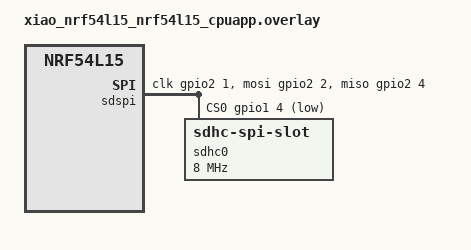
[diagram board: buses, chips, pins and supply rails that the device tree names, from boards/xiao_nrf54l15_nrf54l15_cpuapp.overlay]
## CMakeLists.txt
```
# SPDX-License-Identifier: Apache-2.0
cmake_minimum_required(VERSION 3.20.0)

find_package(Zephyr REQUIRED HINTS $ENV{ZEPHYR_BASE})
project(xiao_nrf54l15_sdcard_test)

target_sources(app PRIVATE src/main.c)
```

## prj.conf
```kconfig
# SPDX-License-Identifier: Apache-2.0
# XIAO nRF54L15 - SD card (SPI) full self-test

# Console / logging
CONFIG_LOG=y
CONFIG_PRINTK=y
CONFIG_STDOUT_CONSOLE=y
# Synchronous logging so no informational lines get dropped during the fast
# boot burst (bit-bang SD init queues several driver log messages).
CONFIG_LOG_MODE_IMMEDIATE=y

# Buses / drivers
CONFIG_GPIO=y
CONFIG_SPI=y
# Software (bit-bang) SPI: needed to clock the SD card at <=400 kHz for init
# (hardware SPIM00 on these pins cannot go below 2 MHz).
CONFIG_SPI_BITBANG=y

# SD card stack: SDHC (SPI) -> SDMMC disk -> disk access
CONFIG_SDHC=y
CONFIG_DISK_ACCESS=y
CONFIG_DISK_DRIVER_SDMMC=y

# FAT filesystem (ELM FatFs) with long-file-name support
CONFIG_FILE_SYSTEM=y
CONFIG_FAT_FILESYSTEM_ELM=y
CONFIG_FS_FATFS_LFN=y
CONFIG_FS_FATFS_LFN_MODE_STACK=y

# Stacks / heap sized generously for FatFs + SDHC (they are stack hungry)
CONFIG_MAIN_STACK_SIZE=32000
CONFIG_SYSTEM_WORKQUEUE_STACK_SIZE=16384
CONFIG_HEAP_MEM_POOL_SIZE=16384
CONFIG_IDLE_STACK_SIZE=8192

# Keep the SoC at constant latency for reliable SPI timing during init
CONFIG_SOC_NRF_FORCE_CONSTLAT=y
```

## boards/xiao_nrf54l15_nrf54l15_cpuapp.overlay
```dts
/*
 * SD card over SPI for Seeed XIAO nRF54L15 (Sense).
 *
 * User wiring:
 *   SCK  = P2.01  (XIAO D8)
 *   MOSI = P2.02  (XIAO D10)
 *   MISO = P2.04  (XIAO D9)
 *   CS   = P1.04  (XIAO D0)
 *
 * Why software (bit-bang) SPI instead of hardware SPIM:
 *   - SPIM00 (the board's default xiao_spi on exactly these P2 pins) has a
 *     hardware minimum clock of 2 MHz and therefore cannot produce the
 *     <=400 kHz clock an SD card needs during its init handshake.
 *   - SPIM20 shares the "serial 20" instance with UART20, which is the
 *     board's console -> on-board USB-serial (COM port). Using SPIM20 would
 *     kill the console.
 *   Bit-bang toggles plain GPIOs, so it works at 400 kHz for init, needs no
 *   serial peripheral instance, and leaves UART20/console intact.
 */

/ {
	sdspi: sdspi {
		compatible = "zephyr,spi-bitbang";
		status = "okay";
		#address-cells = <1>;
		#size-cells = <0>;

		clk-gpios  = <&gpio2 1 GPIO_ACTIVE_HIGH>;   /* P2.01 SCK  */
		mosi-gpios = <&gpio2 2 GPIO_ACTIVE_HIGH>;   /* P2.02 MOSI */
		miso-gpios = <&gpio2 4 GPIO_ACTIVE_HIGH>;   /* P2.04 MISO */
		cs-gpios   = <&gpio1 4 GPIO_ACTIVE_LOW>;    /* P1.04 CS   */

		sdhc0: sdhc@0 {
			compatible = "zephyr,sdhc-spi-slot";
			reg = <0>;
			status = "okay";
			spi-max-frequency = <8000000>;

			mmc {
				compatible = "zephyr,sdmmc-disk";
				disk-name = "SD";
				status = "okay";
			};
		};
	};

	aliases {
		sdhc0 = &sdhc0;
	};
};

/* Free the P2.01/P2.02/P2.04 pins from the default hardware SPI (SPIM00)
 * so the bit-bang driver can drive them as GPIOs.
 */
&xiao_spi {
	status = "disabled";
};
```

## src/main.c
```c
/*
 * SD card test for Seeed XIAO nRF54L15 (Sense) over software (bit-bang) SPI.
 *
 * Wiring:
 *   SCK  = P2.01 (D8)
 *   MOSI = P2.02 (D10)
 *   MISO = P2.04 (D9)
 *   CS   = P1.04 (D0)
 *
 * Behaviour on each boot:
 *   1. Wait until the SD card answers (so wiring / re-seating / power-cycling
 *      the card can be fixed live without re-flashing).
 *   2. Create a new persistent file test{N}.txt containing "Hello" (N grows
 *      every boot: test1.txt, test2.txt, ...).
 *   3. Run a full read/write/verify self-test.
 *   4. Heartbeat the status once per few seconds.
 *
 * SPDX-License-Identifier: Apache-2.0
 */

#include <zephyr/kernel.h>
#include <zephyr/device.h>
#include <zephyr/storage/disk_access.h>
#include <zephyr/logging/log.h>
#include <zephyr/fs/fs.h>
#include <ff.h>
#include <string.h>
#include <stdio.h>

LOG_MODULE_REGISTER(sdtest, LOG_LEVEL_INF);

#define DISK_DRIVE_NAME "SD"
#define DISK_MOUNT_PT   "/" DISK_DRIVE_NAME ":"

static FATFS fat_fs;
static struct fs_mount_t mp = {
	.type = FS_FATFS,
	.fs_data = &fat_fs,
	.mnt_point = DISK_MOUNT_PT,
};

static int g_pass;
static int g_fail;
static char g_boot_file[48];   /* path of the test{N}.txt created this boot */

#define CHECK(cond, ...)                                                       \
	do {                                                                   \
		if (cond) {                                                    \
			g_pass++;                                              \
			printk("  [ OK ] " __VA_ARGS__);                       \
			printk("\n");                                          \
		} else {                                                       \
			g_fail++;                                              \
			printk("  [FAIL] " __VA_ARGS__);                       \
			printk("\n");                                          \
		}                                                              \
	} while (0)

#define BLOCK        4096
#define LARGE_BYTES  (128 * 1024)
static uint8_t wbuf[BLOCK];
static uint8_t rbuf[BLOCK];

#define SMALL_PATH   DISK_MOUNT_PT "/sdtest.txt"
#define LARGE_PATH   DISK_MOUNT_PT "/sdbig.bin"

static const char small_payload[] =
	"XIAO nRF54L15 SD card self-test\r\n"
	"SCK=P2.01 MOSI=P2.02 MISO=P2.04 CS=P1.04\r\n"
	"The quick brown fox jumps over the lazy dog 0123456789\r\n";

static void fill_pattern(uint8_t *buf, size_t len, uint32_t seed)
{
	for (size_t i = 0; i < len; i++) {
		buf[i] = (uint8_t)((seed + i * 31u + (i >> 3)) & 0xFF);
	}
}

static int lsdir(const char *path)
{
	int res;
	struct fs_dir_t dirp;
	static struct fs_dirent entry;
	int count = 0;

	fs_dir_t_init(&dirp);
	res = fs_opendir(&dirp, path);
	if (res) {
		printk("       Error opening dir %s [%d]\n", path, res);
		return res;
	}

	printk("       Listing %s :\n", path);
	for (;;) {
		res = fs_readdir(&dirp, &entry);
		if (res || entry.name[0] == 0) {
			break;
		}
		if (entry.type == FS_DIR_ENTRY_DIR) {
			printk("         [DIR ] %s\n", entry.name);
		} else {
			printk("         [FILE] %s (%zu bytes)\n",
			       entry.name, entry.size);
		}
		count++;
	}
	fs_closedir(&dirp);
	return res == 0 ? count : res;
}

/* Try to bring the card up. Returns true (card left initialised) or false. */
static bool card_responds(void)
{
	static const char *pdrv = DISK_DRIVE_NAME;

	if (disk_access_ioctl(pdrv, DISK_IOCTL_CTRL_INIT, NULL) == 0) {
		return true;
	}
	(void)disk_access_ioctl(pdrv, DISK_IOCTL_CTRL_DEINIT, NULL);
	return false;
}

/* ---- raw disk info (card already initialised) ------------------------ */
static bool test_raw_disk(uint32_t *out_block_count, uint32_t *out_block_size)
{
	static const char *pdrv = DISK_DRIVE_NAME;
	uint32_t block_count = 0;
	uint32_t block_size = 0;
	bool ok = true;

	printk("\n--- 1. Raw disk access (card identify) ---\n");
	CHECK(true, "SD card init (400 kHz handshake over SPI)");

	if (disk_access_ioctl(pdrv, DISK_IOCTL_GET_SECTOR_COUNT,
			      &block_count) != 0) {
		CHECK(false, "read sector count");
		ok = false;
	} else {
		CHECK(block_count > 0, "sector count = %u", block_count);
	}

	if (disk_access_ioctl(pdrv, DISK_IOCTL_GET_SECTOR_SIZE,
			      &block_size) != 0) {
		CHECK(false, "read sector size");
		ok = false;
	} else {
		CHECK(block_size == 512, "sector size = %u bytes", block_size);
	}

	if (ok) {
		uint64_t bytes = (uint64_t)block_count * block_size;
		printk("       => Card capacity: %u MB (%u MiB)\n",
		       (uint32_t)(bytes / 1000000ULL),
		       (uint32_t)(bytes >> 20));
	}

	*out_block_count = block_count;
	*out_block_size = block_size;
	return ok;
}

static bool test_mount(void)
{
	printk("\n--- 2. Mount FAT filesystem ---\n");

	int res = fs_mount(&mp);

	CHECK(res == FR_OK, "fs_mount(%s) -> %d", DISK_MOUNT_PT, res);
	if (res != FR_OK) {
		return false;
	}

	struct fs_statvfs sbuf;

	res = fs_statvfs(DISK_MOUNT_PT, &sbuf);
	if (res == 0) {
		uint64_t total = (uint64_t)sbuf.f_blocks * sbuf.f_frsize;
		uint64_t freeb = (uint64_t)sbuf.f_bfree * sbuf.f_frsize;

		printk("       Volume total : %u MB\n",
		       (uint32_t)(total / 1000000ULL));
		printk("       Volume free  : %u MB\n",
		       (uint32_t)(freeb / 1000000ULL));
		CHECK(total > 0, "statvfs reports non-zero volume size");
	} else {
		CHECK(false, "fs_statvfs -> %d", res);
	}

	lsdir(DISK_MOUNT_PT);
	return true;
}

/* ---- persistent per-boot file: create test{N}.txt = "Hello" ---------- */
static void create_boot_file(void)
{
	char path[64];
	struct fs_dirent ent;
	struct fs_file_t f;
	int n = 1;

	printk("\n--- Boot file: create test{N}.txt containing \"Hello\" ---\n");

	for (;;) {
		snprintf(path, sizeof(path), DISK_MOUNT_PT "/test%d.txt", n);
		if (fs_stat(path, &ent) != 0) {
			break;
		}
		if (++n > 100000) {
			break;
		}
	}

	fs_file_t_init(&f);
	int rc = fs_open(&f, path, FS_O_CREATE | FS_O_WRITE);
	if (rc != 0) {
		CHECK(false, "create %s", path);
		return;
	}
	ssize_t w = fs_write(&f, "Hello", 5);
	fs_sync(&f);
	fs_close(&f);
	CHECK(w == 5, "wrote \"Hello\" to %s (%d bytes)", path, (int)w);
	if (w == 5) {
		strncpy(g_boot_file, path, sizeof(g_boot_file) - 1);
	}

	lsdir(DISK_MOUNT_PT);
}

static bool test_small_file(void)
{
	struct fs_file_t f;
	int res;
	bool ok = true;

	printk("\n--- 3. Small file write / read-back / verify ---\n");

	fs_file_t_init(&f);
	res = fs_open(&f, SMALL_PATH, FS_O_CREATE | FS_O_WRITE | FS_O_TRUNC);
	CHECK(res == 0, "open %s for write", SMALL_PATH);
	if (res != 0) {
		return false;
	}
	ssize_t n = fs_write(&f, small_payload, sizeof(small_payload) - 1);
	CHECK(n == (ssize_t)(sizeof(small_payload) - 1), "wrote %d bytes", (int)n);
	fs_close(&f);

	fs_file_t_init(&f);
	res = fs_open(&f, SMALL_PATH, FS_O_READ);
	CHECK(res == 0, "reopen %s for read", SMALL_PATH);
	if (res != 0) {
		return false;
	}
	memset(rbuf, 0, sizeof(rbuf));
	n = fs_read(&f, rbuf, sizeof(rbuf));
	fs_close(&f);
	CHECK(n == (ssize_t)(sizeof(small_payload) - 1), "read back %d bytes", (int)n);

	if (n == (ssize_t)(sizeof(small_payload) - 1) &&
	    memcmp(rbuf, small_payload, n) == 0) {
		CHECK(true, "content matches byte-for-byte");
	} else {
		CHECK(false, "content matches byte-for-byte");
		ok = false;
	}
	return ok;
}

static bool test_large_file(void)
{
	struct fs_file_t f;
	int res;
	bool ok = true;
	int64_t t0, dt;

	printk("\n--- 4. Large file (%d KiB) throughput + integrity ---\n",
	       LARGE_BYTES / 1024);

	fs_file_t_init(&f);
	res = fs_open(&f, LARGE_PATH, FS_O_CREATE | FS_O_WRITE | FS_O_TRUNC);
	CHECK(res == 0, "open %s for write", LARGE_PATH);
	if (res != 0) {
		return false;
	}
	size_t written = 0;
	t0 = k_uptime_get();
	while (written < LARGE_BYTES) {
		fill_pattern(wbuf, BLOCK, written);
		if (fs_write(&f, wbuf, BLOCK) != BLOCK) {
			CHECK(false, "write chunk at offset %zu", written);
			ok = false;
			break;
		}
		written += BLOCK;
	}
	fs_sync(&f);
	dt = k_uptime_get() - t0;
	fs_close(&f);
	if (ok) {
		uint32_t kbps = dt > 0 ? (uint32_t)(((uint64_t)written * 1000U) / 1024U / dt) : 0;
		CHECK(written == LARGE_BYTES, "wrote %zu bytes in %lld ms => %u KiB/s",
		      written, dt, kbps);
	}

	fs_file_t_init(&f);
	res = fs_open(&f, LARGE_PATH, FS_O_READ);
	CHECK(res == 0, "reopen %s for read", LARGE_PATH);
	if (res != 0) {
		return false;
	}
	size_t rd = 0;
	bool mismatch = false;
	t0 = k_uptime_get();
	while (rd < LARGE_BYTES) {
		if (fs_read(&f, rbuf, BLOCK) != BLOCK) {
			CHECK(false, "read chunk at offset %zu", rd);
			ok = false;
			break;
		}
		fill_pattern(wbuf, BLOCK, rd);
		if (memcmp(rbuf, wbuf, BLOCK) != 0) {
			mismatch = true;
		}
		rd += BLOCK;
	}
	dt = k_uptime_get() - t0;
	fs_close(&f);
	if (ok) {
		uint32_t kbps = dt > 0 ? (uint32_t)(((uint64_t)rd * 1000U) / 1024U / dt) : 0;
		CHECK(rd == LARGE_BYTES, "read %zu bytes in %lld ms => %u KiB/s", rd, dt, kbps);
		CHECK(!mismatch, "%d KiB verified with no data corruption", LARGE_BYTES / 1024);
		if (mismatch) {
			ok = false;
		}
	}
	return ok;
}

static bool test_cleanup_and_remount(void)
{
	int res;
	bool ok = true;
	struct fs_dirent ent;

	printk("\n--- 5. Delete scratch files + unmount/remount ---\n");

	res = fs_unlink(SMALL_PATH);
	CHECK(res == 0, "delete %s", SMALL_PATH);
	res = fs_unlink(LARGE_PATH);
	CHECK(res == 0, "delete %s", LARGE_PATH);
	CHECK(fs_stat(SMALL_PATH, &ent) != 0, "%s no longer present", SMALL_PATH);
	CHECK(fs_stat(LARGE_PATH, &ent) != 0, "%s no longer present", LARGE_PATH);

	res = fs_unmount(&mp);
	CHECK(res == 0, "unmount");
	if (res != 0) {
		ok = false;
	}
	res = fs_mount(&mp);
	CHECK(res == FR_OK, "remount");
	if (res != FR_OK) {
		ok = false;
	} else {
		fs_unmount(&mp);
	}
	return ok;
}

int main(void)
{
	uint32_t bc = 0, bs = 0;

	k_msleep(300);

	printk("\n");
	printk("========================================================\n");
	printk(" XIAO nRF54L15  --  SD card (SPI) test\n");
	printk(" Pins: SCK=P2.01  MOSI=P2.02  MISO=P2.04  CS=P1.04\n");
	printk("========================================================\n");

	/* Wait until the card answers, so wiring / re-seating / power-cycling the
	 * card can be fixed live without re-flashing or resetting.
	 */
	int waits = 0;
	while (!card_responds()) {
		if (waits == 0) {
			printk("\nSD card is not answering (no reply to CMD0).\n");
			printk("Check connections: SCK=P2.01, MOSI=P2.02, MISO=P2.04, "
			       "CS=P1.04, plus 3V3 and GND.\n");
			printk("Re-seat / power-cycle the card. Retrying every 2 s...\n");
		}
		waits++;
		printk("[wait %ds] no card yet...\n", waits * 2);
		k_sleep(K_SECONDS(2));
	}
	if (waits > 0) {
		printk("\nSD card started answering after ~%d s.\n", waits * 2);
	}

	/* Card is up. Run the identify + full self-test and create this boot's
	 * persistent test{N}.txt = "Hello".
	 */
	test_raw_disk(&bc, &bs);

	if (test_mount()) {
		create_boot_file();       /* <-- creates test{N}.txt with "Hello" */
		test_small_file();
		test_large_file();
		test_cleanup_and_remount();
	} else {
		printk("\n*** Could not mount FAT -- is the card FAT32? ***\n");
	}

	printk("\n========================================================\n");
	printk(" RESULT: %d checks passed, %d failed\n", g_pass, g_fail);
	if (g_fail == 0 && g_pass > 0) {
		printk(" >>>>>>>>>>   SD CARD TEST: PASSED   <<<<<<<<<<\n");
	} else {
		printk(" >>>>>>>>>>   SD CARD TEST: FAILED   <<<<<<<<<<\n");
	}
	printk("========================================================\n");

	while (1) {
		k_sleep(K_SECONDS(3));
		if (g_boot_file[0] != '\0') {
			printk("[status] SD OK - this boot wrote \"Hello\" to %s\n",
			       g_boot_file);
		} else {
			printk("[status] SD not available\n");
		}
	}
	return 0;
}
```
